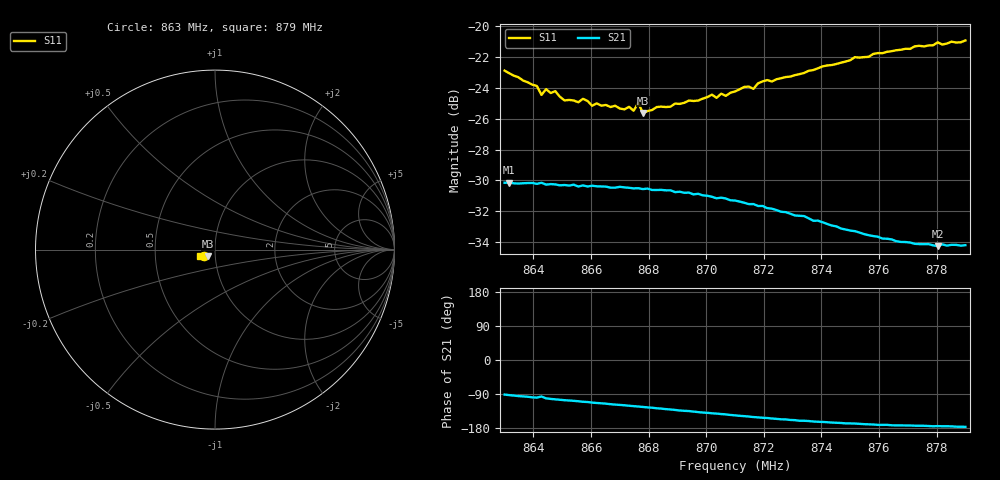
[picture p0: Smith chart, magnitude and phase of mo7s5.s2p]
# HZ S RI R 50
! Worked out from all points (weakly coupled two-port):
!   101 points, 863 MHz to 879 MHz, reference 50 ohm
!   highest |S21| = -30.14 dB at 863.16 MHz (marker M1); lowest = -34.3 dB at 878.04 MHz (marker M2)
!   lowest |S11| = -25.6 dB at 867.8 MHz (marker M3), VSWR 1.11, Z = 46.3 - j3.38 ohm
!   |S11| at or under -10 dB: start of sweep to end of sweep
!   S12 and S22 are empty: the file has one direction only
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8.63e8  -0.0617 -0.0365  -0.000672 -0.0311  0 0  0 0
8.6316e8  -0.061 -0.035  -0.00148 -0.0311  0 0  0 0
8.6412e8  -0.0551 -0.0325  -0.00498 -0.0304  0 0  0 0
8.6428e8  -0.0479 -0.0358  -0.00341 -0.0309  0 0  0 0
8.6444e8  -0.0533 -0.0326  -0.006 -0.0301  0 0  0 0
8.646e8  -0.0506 -0.0334  -0.00675 -0.03  0 0  0 0
8.6476e8  -0.0513 -0.034  -0.00735 -0.0298  0 0  0 0
8.6508e8  -0.0474 -0.0324  -0.00848 -0.0294  0 0  0 0
8.6556e8  -0.0469 -0.0317  -0.00979 -0.0286  0 0  0 0
8.6572e8  -0.0473 -0.0338  -0.0105 -0.0286  0 0  0 0
8.6604e8  -0.0441 -0.0332  -0.0116 -0.0281  0 0  0 0
8.6732e8  -0.0416 -0.0357  -0.0153 -0.0257  0 0  0 0
8.6748e8  -0.0393 -0.0359  -0.0157 -0.0253  0 0  0 0
8.6764e8  -0.0417 -0.0379  -0.0162 -0.0251  0 0  0 0
8.678e8  -0.0375 -0.0365  -0.0165 -0.0246  0 0  0 0
8.6844e8  -0.0393 -0.0382  -0.0182 -0.0231  0 0  0 0
8.71e8  -0.0408 -0.0459  -0.0226 -0.0152  0 0  0 0
8.7372e8  -0.0509 -0.051  -0.0223 -0.00711  0 0  0 0
8.7516e8  -0.0611 -0.0505  -0.0212 -0.00464  0 0  0 0
8.7644e8  -0.0686 -0.0466  -0.0202 -0.00272  0 0  0 0
8.7804e8  -0.0789 -0.0402  -0.0193 -0.00187  0 0  0 0
8.79e8  -0.0831 -0.0341  -0.0195 -0.00125  0 0  0 0
